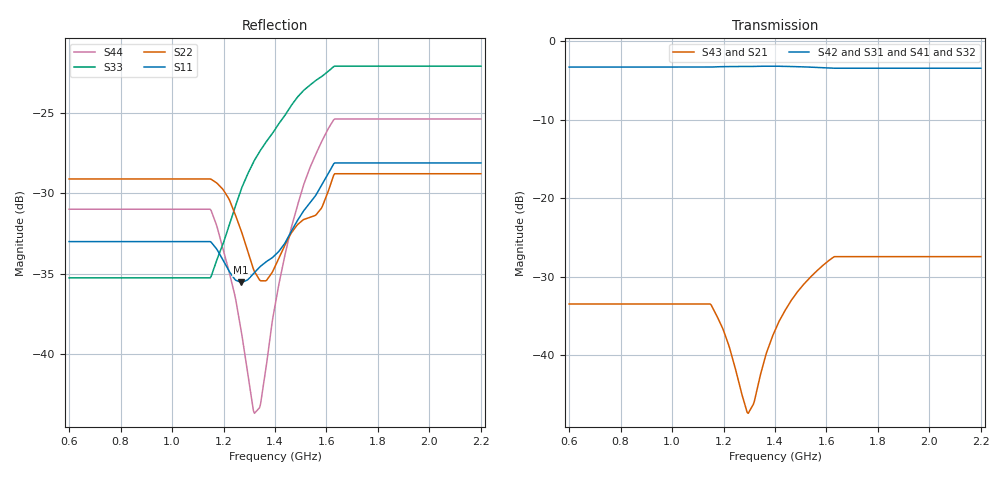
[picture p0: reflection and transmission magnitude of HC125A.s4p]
! Project 16: GNSS L1 + L2/L5 active antenna front end (RFMW-ANT)
! Generated by Scripts/simulate.py from Scripts/ds_data.py; format GHz / RI, Z0 = 50 ohm
! ESTIMATED from Taoglas HC125A datasheet SPE-20-8-104-F table p.6 (magnitudes and coupled-vs-through phase are
! datasheet values; absolute phase, reflection/isolation phase are [ASSUMED]).
! Ports = pins 1..4. Pin1->Pin4 through, Pin1->Pin3 coupled (-90 deg), Pin1->Pin2 isolated.
! Valid 1150-1630 MHz; values outside are held at the band-edge magnitudes [EXTRAPOLATED].
! Reflection/isolation phase offsets (deg) chosen for passivity: 165 / 270
# GHz S RI R 50.0
!freq ReS11 ImS11 ReS12 ImS12 ReS13 ImS13
! ReS14 ImS14
! ReS21 ImS21 ReS22 ImS22 ReS23 ImS23
! ReS24 ImS24
! ReS31 ImS31 ReS32 ImS32 ReS33 ImS33
! ReS34 ImS34
! ReS41 ImS41 ReS42 ImS42 ReS43 ImS43
! ReS44 ImS44
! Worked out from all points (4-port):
!   401 points, 600 MHz to 2.2 GHz, reference 50 ohm
!   strongest paths, dB at 600 MHz, 1 GHz, 1.4 GHz, 1.8 GHz, 2.2 GHz:
!     S42: -3.3, -3.3, -3.2, -3.4, -3.4
!     S31: -3.3, -3.3, -3.2, -3.4, -3.4
!     S41: -3.1, -3.1, -3.4, -3.3, -3.3
!     S32: -3.1, -3.1, -3.4, -3.3, -3.3
!     S43: -33.5, -33.5, -36.9, -27.5, -27.5
!     S21: -33.5, -33.5, -36.9, -27.5, -27.5
!   lowest |S11| = -35.5 dB at 1.268 GHz (marker M1), VSWR 1.03, Z = 50.2 + j1.67 ohm
!   |S11| at or under -10 dB: start of sweep to end of sweep
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0.6  -0.0132 0.0181  -0.0133 -0.0165  -0.4465 -0.5182  0.5458 -0.4396
     -0.0133 -0.0165  -0.0207 0.0283  0.5458 -0.4396  -0.4465 -0.5182
     -0.4465 -0.5182  0.5458 -0.4396  -0.0102 0.014  -0.0133 -0.0165
     0.5458 -0.4396  -0.4465 -0.5182  -0.0133 -0.0165  -0.0166 0.0228
1.144  -0.000363 0.0224  -0.0204 -0.00581  -0.6637 -0.1658  0.1923 -0.6739
       -0.0204 -0.00581  -0.000568 0.035  0.1923 -0.6739  -0.6637 -0.1658
       -0.6637 -0.1658  0.1923 -0.6739  -0.00028 0.0173  -0.0204 -0.00581
       0.1923 -0.6739  -0.6637 -0.1658  -0.0204 -0.00581  -0.000457 0.0282
1.268  0.00207 0.0166  -0.00583 -0.000809  -0.6867 -0.068  0.094 -0.6774
       -0.00583 -0.000809  0.003 0.0241  0.094 -0.6774  -0.6867 -0.068
       -0.6867 -0.068  0.094 -0.6774  0.00401 0.0322  -0.00583 -0.000809
       0.094 -0.6774  -0.6867 -0.068  -0.00583 -0.000809  0.00147 0.0118
1.336  0.00369 0.0181  -0.00664 -0.000406  -0.6919 -0.0122  0.0414 -0.6773
       -0.00664 -0.000406  0.00344 0.0169  0.0414 -0.6773  -0.6919 -0.0122
       -0.6919 -0.0122  0.0414 -0.6773  0.00839 0.0412  -0.00664 -0.000406
       0.0414 -0.6773  -0.6919 -0.0122  -0.00664 -0.000406  0.00135 0.00664
1.444  0.00716 0.0214  -0.0198 0.00121  -0.6867 0.0742  -0.0413 -0.6752
       -0.0198 0.00121  0.00706 0.0211  -0.0413 -0.6752  -0.6867 0.0742
       -0.6867 0.0742  -0.0413 -0.6752  0.0178 0.0532  -0.0198 0.00121
       -0.0413 -0.6752  -0.6867 0.0742  -0.0198 0.00121  0.00674 0.0201
1.624  0.0193 0.0333  -0.0403 0.0109  -0.64 0.2097  -0.1783 -0.6585
       -0.0403 0.0109  0.0177 0.0304  -0.1783 -0.6585  -0.64 0.2097
       -0.64 0.2097  -0.1783 -0.6585  0.0391 0.0672  -0.0403 0.0109
       -0.1783 -0.6585  -0.64 0.2097  -0.0403 0.0109  0.0265 0.0457
2.2  0.0363 0.0151  -0.0258 0.0336  -0.3817 0.554  -0.5414 -0.4162
     -0.0258 0.0336  0.0336 0.014  -0.5414 -0.4162  -0.3817 0.554
     -0.3817 0.554  -0.5414 -0.4162  0.0725 0.0301  -0.0258 0.0336
     -0.5414 -0.4162  -0.3817 0.554  -0.0258 0.0336  0.0497 0.0206
